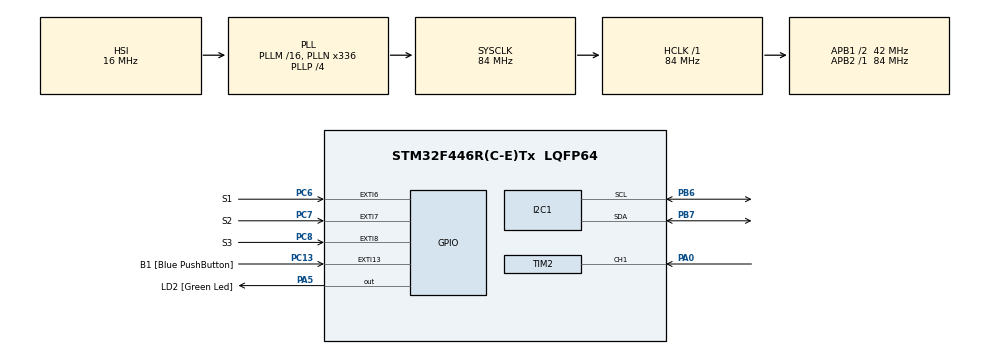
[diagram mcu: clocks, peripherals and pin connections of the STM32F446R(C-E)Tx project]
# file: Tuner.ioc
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Mcu.Family=STM32F4
Mcu.Name=STM32F446R(C-E)Tx
Mcu.Package=LQFP64
NVIC.EXTI15_10_IRQn=true\:0\:0\:false\:false\:true\:true\:true\:true
NVIC.EXTI9_5_IRQn=true\:0\:0\:false\:false\:true\:true\:true\:true
NVIC.I2C1_ER_IRQn=true\:0\:0\:false\:false\:true\:true\:true\:true
NVIC.I2C1_EV_IRQn=true\:0\:0\:false\:false\:true\:true\:true\:true
NVIC.PVD_IRQn=true\:0\:0\:false\:false\:true\:true\:true\:true
NVIC.PriorityGroup=NVIC_PRIORITYGROUP_0
NVIC.TIM2_IRQn=true\:0\:0\:false\:false\:true\:true\:true\:true
PA0-WKUP.Signal=S_TIM2_CH1_ETR
PA13.GPIO_Label=TMS
PA13.Mode=Serial_Wire
PA13.Signal=SYS_JTMS-SWDIO
PA14.GPIO_Label=TCK
PA14.Mode=Serial_Wire
PA14.Signal=SYS_JTCK-SWCLK
PA2.GPIO_Label=USART_TX
PA2.Signal=USART2_TX
PA3.GPIO_Label=USART_RX
PA3.Signal=USART2_RX
PA5.GPIO_Label=LD2 [Green Led]
PA5.Signal=GPIO_Output
PB3.GPIO_Label=SWO
PB3.Signal=SYS_JTDO-SWO
PB6.Mode=I2C
PB6.Signal=I2C1_SCL
PB7.Mode=I2C
PB7.Signal=I2C1_SDA
PC13.GPIO_Label=B1 [Blue PushButton]
PC13.GPIO_ModeDefaultEXTI=GPIO_MODE_IT_FALLING
PC13.Signal=GPXTI13
PC14-OSC32_IN.Signal=RCC_OSC32_IN
PC15-OSC32_OUT.Signal=RCC_OSC32_OUT
PC6.GPIO_Label=S1
PC6.Signal=GPXTI6
PC7.GPIO_Label=S2
PC7.Signal=GPXTI7
PC8.GPIO_Label=S3
PC8.Signal=GPXTI8
PH0-OSC_IN.Signal=RCC_OSC_IN
PH1-OSC_OUT.Signal=RCC_OSC_OUT
ProjectManager.HeapSize=0x200
ProjectManager.StackSize=0x400
ProjectManager.TargetToolchain=STM32CubeIDE
RCC.AHBFreq_Value=84000000
RCC.APB1CLKDivider=RCC_HCLK_DIV2
RCC.APB1Freq_Value=42000000
RCC.APB1TimFreq_Value=84000000
RCC.APB2Freq_Value=84000000
RCC.APB2TimFreq_Value=84000000
RCC.CortexFreq_Value=84000000
RCC.FLatency-AdvancedSettings=FLASH_LATENCY_2
RCC.HCLKFreq_Value=84000000
RCC.HSE_VALUE=8000000
RCC.HSI_VALUE=16000000
RCC.LSE_VALUE=32768
RCC.PLLN=336
RCC.PLLP=RCC_PLLP_DIV4
RCC.SYSCLKFreq_VALUE=84000000
RCC.SYSCLKSource=RCC_SYSCLKSOURCE_PLLCLK
RCC.USBFreq_Value=168000000
RCC.VCOOutputFreq_Value=336000000
SH.S_TIM2_CH1_ETR.0=TIM2_CH1,Input_Capture1_from_TI1
TIM2.Channel-Input_Capture1_from_TI1=TIM_CHANNEL_1
TIM2.ICFilter_CH1=0x0F
TIM2.Prescaler=83
VP_TIM2_VS_ClockSourceINT.Mode=Internal
board=NUCLEO-F446RE

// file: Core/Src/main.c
/* USER CODE BEGIN Header */
/**
  ******************************************************************************
  * @file           : main.c
  * @brief          : Main program body
  ******************************************************************************
  * @attention
  *
  * Copyright (c) 2026 STMicroelectronics.
  * All rights reserved.
  *
  * This software is licensed under terms that can be found in the LICENSE file
  * in the root directory of this software component.
  * If no LICENSE file comes with this software, it is provided AS-IS.
  *
  ******************************************************************************
  */
/* USER CODE END Header */
#include "main.h"

/* USER CODE BEGIN Includes */
#include "freq_calc.h"
#include "string_select.h"
#include "lcd_display.h"
#include "tuner_ctrl.h"
/* USER CODE END Includes */

I2C_HandleTypeDef hi2c1;
TIM_HandleTypeDef htim2;

/* USER CODE BEGIN PV */
/* Todas las variables de estado ahora están encapsuladas en los módulos */
/* USER CODE END PV */

void SystemClock_Config(void);
static void MX_GPIO_Init(void);
static void MX_TIM2_Init(void);
static void MX_I2C1_Init(void);

int main(void)
{
  /* MCU Configuration--------------------------------------------------------*/
  /* Reset of all peripherals, Initializes the Flash interface and the Systick. */
  HAL_Init();

  /* Configure the system clock */
  SystemClock_Config();

  /* Initialize all configured peripherals */
  MX_GPIO_Init();
  MX_TIM2_Init();
  MX_I2C1_Init();

  /* USER CODE BEGIN 2 */
  // 1. Inicializar la librería de cálculo de frecuencia (TIM2, Channel 1)
  freq_calc_init(&htim2, TIM_CHANNEL_1);

  // 2. Inicializar el selector de cuerdas (S2 = Cuerda+, S1 = Cuerda-)
  string_select_init(S2_Pin, S1_Pin);

  // 3. Inicializar el control principal del afinador
  tuner_init();

  // 4. Inicializar el display LCD y asignarle el botón de modo (S3)
  lcd_display_init(&hi2c1, S3_Pin);
  /* USER CODE END 2 */

  /* Infinite loop */
  /* USER CODE BEGIN WHILE */
  while (1)
  {
    // Actualizar los cálculos del lazo de control del afinador
    tuner_update();

    // Actualizar la interfaz gráfica (la función ya maneja su propio timing)
    lcd_display_update();

    // Lógica de actuación física básica para test visual en placa
    if (tuner_is_active()) {
        if (tuner_is_tuned()) {
            HAL_GPIO_WritePin(LD2_GPIO_Port, LD2_Pin, GPIO_PIN_SET); // Afinada -> LED prendido
        } else {
            HAL_GPIO_WritePin(LD2_GPIO_Port, LD2_Pin, GPIO_PIN_RESET); // Desafinada -> LED apagado
        }
    } else {
        // Silencio
        HAL_GPIO_WritePin(LD2_GPIO_Port, LD2_Pin, GPIO_PIN_RESET);
    }

    /* USER CODE END WHILE */

  }
}

// ... [Omito las funciones de inicialización generadas por CubeMX (SystemClock_Config, MX_GPIO_Init, etc.) para mantener la limpieza, permanecen exactamente iguales a tu original] ...

/* USER CODE BEGIN 4 */
void HAL_TIM_IC_CaptureCallback(TIM_HandleTypeDef *htim) {
    // Delegar interrupción del timer a la librería freq_calc
    freq_calc_ISR(htim);
}

void HAL_GPIO_EXTI_Callback(uint16_t GPIO_Pin) {
	if (GPIO_Pin == S1_Pin || GPIO_Pin == S2_Pin) {
	        string_select_isr(GPIO_Pin);
	    }
	    if (GPIO_Pin == S3_Pin) {
	        lcd_display_isr(GPIO_Pin);
	    }
}

/**
  * @brief System Clock Configuration
  * @retval None
  */
void SystemClock_Config(void)
{
  RCC_OscInitTypeDef RCC_OscInitStruct = {0};
  RCC_ClkInitTypeDef RCC_ClkInitStruct = {0};

  /** Configure the main internal regulator output voltage
  */
  __HAL_RCC_PWR_CLK_ENABLE();
  __HAL_PWR_VOLTAGESCALING_CONFIG(PWR_REGULATOR_VOLTAGE_SCALE3);

  /** Initializes the RCC Oscillators according to the specified parameters
  * in the RCC_OscInitTypeDef structure.
  */
  RCC_OscInitStruct.OscillatorType = RCC_OSCILLATORTYPE_HSI;
  RCC_OscInitStruct.HSIState = RCC_HSI_ON;
  RCC_OscInitStruct.HSICalibrationValue = RCC_HSICALIBRATION_DEFAULT;
  RCC_OscInitStruct.PLL.PLLState = RCC_PLL_ON;
  RCC_OscInitStruct.PLL.PLLSource = RCC_PLLSOURCE_HSI;
  RCC_OscInitStruct.PLL.PLLM = 16;
  RCC_OscInitStruct.PLL.PLLN = 336;
  RCC_OscInitStruct.PLL.PLLP = RCC_PLLP_DIV4;
  RCC_OscInitStruct.PLL.PLLQ = 2;
  RCC_OscInitStruct.PLL.PLLR = 2;
  if (HAL_RCC_OscConfig(&RCC_OscInitStruct) != HAL_OK)
  {
    Error_Handler();
  }

  /** Initializes the CPU, AHB and APB buses clocks
  */
  RCC_ClkInitStruct.ClockType = RCC_CLOCKTYPE_HCLK|RCC_CLOCKTYPE_SYSCLK
                              |RCC_CLOCKTYPE_PCLK1|RCC_CLOCKTYPE_PCLK2;
  RCC_ClkInitStruct.SYSCLKSource = RCC_SYSCLKSOURCE_PLLCLK;
  RCC_ClkInitStruct.AHBCLKDivider = RCC_SYSCLK_DIV1;
  RCC_ClkInitStruct.APB1CLKDivider = RCC_HCLK_DIV2;
  RCC_ClkInitStruct.APB2CLKDivider = RCC_HCLK_DIV1;

  if (HAL_RCC_ClockConfig(&RCC_ClkInitStruct, FLASH_LATENCY_2) != HAL_OK)
  {
    Error_Handler();
  }
}

/**
  * @brief I2C1 Initialization Function
  * @param None
  * @retval None
  */
static void MX_I2C1_Init(void)
{
  hi2c1.Instance = I2C1;
  hi2c1.Init.ClockSpeed = 100000;
  hi2c1.Init.DutyCycle = I2C_DUTYCYCLE_2;
  hi2c1.Init.OwnAddress1 = 0;
  hi2c1.Init.AddressingMode = I2C_ADDRESSINGMODE_7BIT;
  hi2c1.Init.DualAddressMode = I2C_DUALADDRESS_DISABLE;
  hi2c1.Init.OwnAddress2 = 0;
  hi2c1.Init.GeneralCallMode = I2C_GENERALCALL_DISABLE;
  hi2c1.Init.NoStretchMode = I2C_NOSTRETCH_DISABLE;
  if (HAL_I2C_Init(&hi2c1) != HAL_OK)
  {
    Error_Handler();
  }
}

/**
  * @brief TIM2 Initialization Function
  * @param None
  * @retval None
  */
static void MX_TIM2_Init(void)
{
  TIM_ClockConfigTypeDef sClockSourceConfig = {0};
  TIM_MasterConfigTypeDef sMasterConfig = {0};
  TIM_IC_InitTypeDef sConfigIC = {0};

  htim2.Instance = TIM2;
  htim2.Init.Prescaler = 83;
  htim2.Init.CounterMode = TIM_COUNTERMODE_UP;
  htim2.Init.Period = 4294967295;
  htim2.Init.ClockDivision = TIM_CLOCKDIVISION_DIV1;
  htim2.Init.AutoReloadPreload = TIM_AUTORELOAD_PRELOAD_DISABLE;
  if (HAL_TIM_Base_Init(&htim2) != HAL_OK)
  {
    Error_Handler();
  }
  sClockSourceConfig.ClockSource = TIM_CLOCKSOURCE_INTERNAL;
  if (HAL_TIM_ConfigClockSource(&htim2, &sClockSourceConfig) != HAL_OK)
  {
    Error_Handler();
  }
  if (HAL_TIM_IC_Init(&htim2) != HAL_OK)
  {
    Error_Handler();
  }
  sMasterConfig.MasterOutputTrigger = TIM_TRGO_RESET;
  sMasterConfig.MasterSlaveMode = TIM_MASTERSLAVEMODE_DISABLE;
  if (HAL_TIMEx_MasterConfigSynchronization(&htim2, &sMasterConfig) != HAL_OK)
  {
    Error_Handler();
  }
  sConfigIC.ICPolarity = TIM_INPUTCHANNELPOLARITY_RISING;
  sConfigIC.ICSelection = TIM_ICSELECTION_DIRECTTI;
  sConfigIC.ICPrescaler = TIM_ICPSC_DIV1;
  sConfigIC.ICFilter = 0x0F;
  if (HAL_TIM_IC_ConfigChannel(&htim2, &sConfigIC, TIM_CHANNEL_1) != HAL_OK)
  {
    Error_Handler();
  }
}

/**
  * @brief GPIO Initialization Function
  * @param None
  * @retval None
  */
static void MX_GPIO_Init(void)
{
  GPIO_InitTypeDef GPIO_InitStruct = {0};

  /* GPIO Ports Clock Enable */
  __HAL_RCC_GPIOC_CLK_ENABLE();
  __HAL_RCC_GPIOH_CLK_ENABLE();
  __HAL_RCC_GPIOA_CLK_ENABLE();
  __HAL_RCC_GPIOB_CLK_ENABLE();

  /*Configure GPIO pin Output Level */
  HAL_GPIO_WritePin(LD2_GPIO_Port, LD2_Pin, GPIO_PIN_RESET);

  /*Configure GPIO pin : B1_Pin */
  GPIO_InitStruct.Pin = B1_Pin;
  GPIO_InitStruct.Mode = GPIO_MODE_IT_FALLING;
  GPIO_InitStruct.Pull = GPIO_NOPULL;
  HAL_GPIO_Init(B1_GPIO_Port, &GPIO_InitStruct);

  /*Configure GPIO pins : USART_TX_Pin USART_RX_Pin */
  GPIO_InitStruct.Pin = USART_TX_Pin|USART_RX_Pin;
  GPIO_InitStruct.Mode = GPIO_MODE_AF_PP;
  GPIO_InitStruct.Pull = GPIO_NOPULL;
  GPIO_InitStruct.Speed = GPIO_SPEED_FREQ_VERY_HIGH;
  GPIO_InitStruct.Alternate = GPIO_AF7_USART2;
  HAL_GPIO_Init(GPIOA, &GPIO_InitStruct);

  /*Configure GPIO pin : LD2_Pin */
  GPIO_InitStruct.Pin = LD2_Pin;
  GPIO_InitStruct.Mode = GPIO_MODE_OUTPUT_PP;
  GPIO_InitStruct.Pull = GPIO_NOPULL;
  GPIO_InitStruct.Speed = GPIO_SPEED_FREQ_LOW;
  HAL_GPIO_Init(LD2_GPIO_Port, &GPIO_InitStruct);

  /*Configure GPIO pins : S1_Pin S2_Pin S3_Pin */
  GPIO_InitStruct.Pin = S1_Pin|S2_Pin|S3_Pin;
  GPIO_InitStruct.Mode = GPIO_MODE_IT_RISING;
  GPIO_InitStruct.Pull = GPIO_NOPULL;
  HAL_GPIO_Init(GPIOC, &GPIO_InitStruct);

  /* EXTI interrupt init*/
  HAL_NVIC_SetPriority(EXTI9_5_IRQn, 0, 0);
  HAL_NVIC_EnableIRQ(EXTI9_5_IRQn);

  HAL_NVIC_SetPriority(EXTI15_10_IRQn, 0, 0);
  HAL_NVIC_EnableIRQ(EXTI15_10_IRQn);
}
/* USER CODE END 4 */

void Error_Handler(void)
{
  __disable_irq();
  while (1)
  {
  }
}
